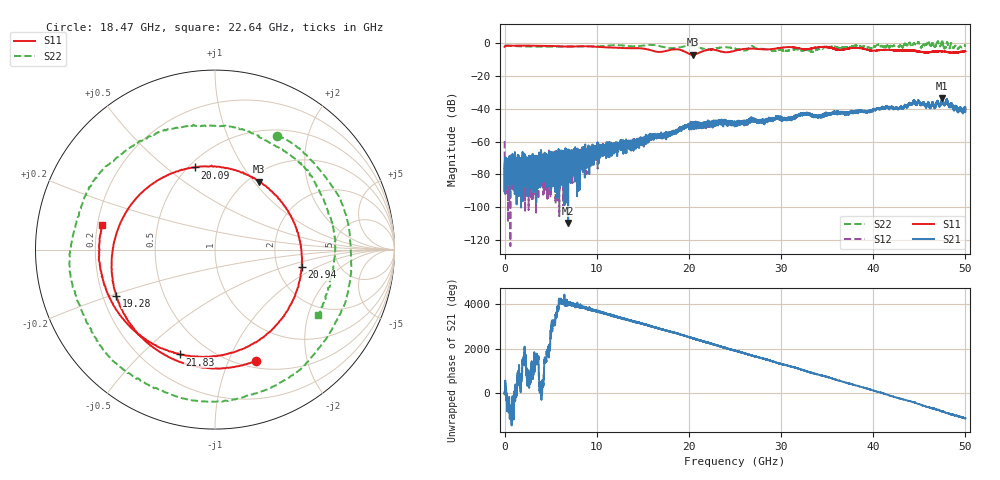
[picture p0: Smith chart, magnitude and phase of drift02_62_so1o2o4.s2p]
!Created with skrf (http://scikit-rf.org).
# Hz S RI R 50.0
!freq ReS11 ImS11 ReS21 ImS21 ReS12 ImS12 ReS22 ImS22
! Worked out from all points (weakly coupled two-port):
!   10001 points, 300 kHz to 50 GHz, reference 50 ohm
!   highest |S21| = -33.61 dB at 47.48 GHz (marker M1); lowest = -109.8 dB at 6.895 GHz (marker M2)
!   lowest |S11| = -6.9 dB at 20.42 GHz (marker M3), VSWR 2.64, Z = 55.8 + j52.9 ohm
!   |S11| at or under -10 dB: nowhere
!   |S22| runs from -5.3 to 1.8 dB; largest |S21 - S12| = 0.0031
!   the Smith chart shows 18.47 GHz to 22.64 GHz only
!   S11 on the Smith chart (normalised r, x): 18.47 GHz: 0.58, -1.26; 19.28 GHz: 0.26, -0.21; 20.09 GHz: 0.54, +0.63; 20.94 GHz: 2.73, -0.70; 21.83 GHz: 0.35, -0.66; 22.64 GHz: 0.22, +0.10
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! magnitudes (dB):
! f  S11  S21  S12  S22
! 300 kHz  -2.1  -71.2  -59.7  -1.3
! 250.3 MHz  -1.4  -77.0  -87.6  -1.4
! 375.3 MHz  -1.4  -71.4  -75.3  -1.4
! 4.455 GHz  -1.6  -74.3  -76.1  -2.0
! 6.895 GHz  -2.0  -109.8  -78.8  -1.9
! 8.335 GHz  -1.7  -67.7  -66.9  -1.9
! 16.67 GHz  -5.2  -55.4  -57.0  -1.4
! 18.47 GHz  -3.6  -54.9  -53.8  -2.8
! 19.28 GHz  -4.3  -51.6  -51.3  -2.1
! 20.09 GHz  -6.5  -49.4  -49.5  -1.5
! 20.42 GHz  -6.9  -50.3  -50.1  -1.7
! 20.94 GHz  -6.2  -49.9  -50.4  -2.2
! 21.83 GHz  -4.2  -49.7  -50.0  -3.5
! 22.64 GHz  -3.8  -47.2  -49.0  -3.3
! 25 GHz  -4.5  -50.6  -48.1  -3.2
! 26.11 GHz  -3.3  -47.5  -48.5  -4.3
! 26.9 GHz  -3.2  -47.5  -46.5  -1.7
! 33.34 GHz  -3.0  -43.7  -43.8  -5.1
! 34.89 GHz  -2.2  -42.8  -43.6  -2.2
! 41.67 GHz  -3.9  -39.2  -39.1  -2.0
! 47.48 GHz  -4.8  -33.6  -34.1  1.3
! 50 GHz  -4.8  -41.6  -41.0  -1.5
